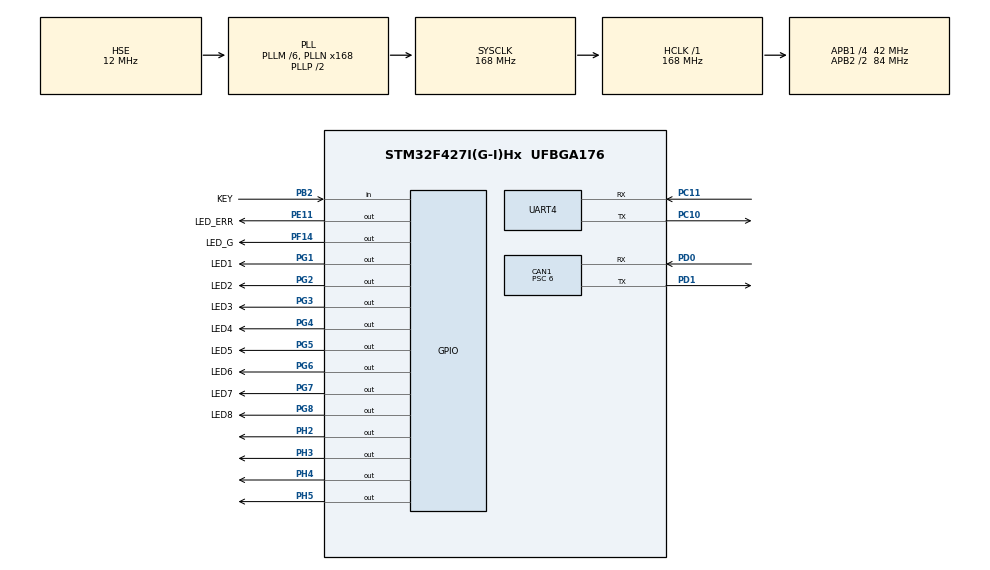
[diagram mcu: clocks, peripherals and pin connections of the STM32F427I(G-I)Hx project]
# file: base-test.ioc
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CAN1.BS1=CAN_BS1_4TQ
CAN1.BS2=CAN_BS2_2TQ
CAN1.CalculateBaudRate=1000000
CAN1.CalculateTimeBit=1000
CAN1.CalculateTimeQuantum=142.85714285714286
CAN1.Prescaler=6
Dma.Request0=UART4_TX
Dma.UART4_TX.0.Direction=DMA_MEMORY_TO_PERIPH
Dma.UART4_TX.0.FIFOMode=DMA_FIFOMODE_ENABLE
Dma.UART4_TX.0.FIFOThreshold=DMA_FIFO_THRESHOLD_FULL
Dma.UART4_TX.0.Instance=DMA1_Stream4
Dma.UART4_TX.0.MemBurst=DMA_MBURST_SINGLE
Dma.UART4_TX.0.MemDataAlignment=DMA_MDATAALIGN_BYTE
Dma.UART4_TX.0.MemInc=DMA_MINC_ENABLE
Dma.UART4_TX.0.Mode=DMA_NORMAL
Dma.UART4_TX.0.PeriphBurst=DMA_PBURST_SINGLE
Dma.UART4_TX.0.PeriphDataAlignment=DMA_PDATAALIGN_BYTE
Dma.UART4_TX.0.PeriphInc=DMA_PINC_DISABLE
Dma.UART4_TX.0.Priority=DMA_PRIORITY_LOW
Mcu.Family=STM32F4
Mcu.Name=STM32F427I(G-I)Hx
Mcu.Package=UFBGA176
NVIC.CAN1_RX0_IRQn=true\:0\:0\:false\:false\:true\:true\:true\:true
NVIC.DMA1_Stream4_IRQn=true\:0\:0\:false\:false\:true\:false\:true\:true
NVIC.PriorityGroup=NVIC_PRIORITYGROUP_4
PB2/BOOT1.GPIO_Label=KEY
PB2/BOOT1.Signal=GPIO_Input
PC10.Mode=Asynchronous
PC10.Signal=UART4_TX
PC11.Mode=Asynchronous
PC11.Signal=UART4_RX
PD0.Mode=CAN_Activate
PD0.Signal=CAN1_RX
PD1.Mode=CAN_Activate
PD1.Signal=CAN1_TX
PE11.GPIO_Label=LED_ERR
PE11.GPIO_PuPd=GPIO_PULLUP
PE11.PinState=GPIO_PIN_SET
PE11.Signal=GPIO_Output
PF14.GPIO_Label=LED_G
PF14.GPIO_PuPd=GPIO_PULLUP
PF14.Signal=GPIO_Output
PG1.GPIO_Label=LED1
PG1.GPIO_PuPd=GPIO_PULLUP
PG1.PinState=GPIO_PIN_SET
PG1.Signal=GPIO_Output
PG2.GPIO_Label=LED2
PG2.GPIO_PuPd=GPIO_PULLUP
PG2.PinState=GPIO_PIN_SET
PG2.Signal=GPIO_Output
PG3.GPIO_Label=LED3
PG3.GPIO_PuPd=GPIO_PULLUP
PG3.PinState=GPIO_PIN_SET
PG3.Signal=GPIO_Output
PG4.GPIO_Label=LED4
PG4.GPIO_PuPd=GPIO_PULLUP
PG4.PinState=GPIO_PIN_SET
PG4.Signal=GPIO_Output
PG5.GPIO_Label=LED5
PG5.GPIO_PuPd=GPIO_PULLUP
PG5.PinState=GPIO_PIN_SET
PG5.Signal=GPIO_Output
PG6.GPIO_Label=LED6
PG6.GPIO_PuPd=GPIO_PULLUP
PG6.PinState=GPIO_PIN_SET
PG6.Signal=GPIO_Output
PG7.GPIO_Label=LED7
PG7.GPIO_PuPd=GPIO_PULLUP
PG7.PinState=GPIO_PIN_SET
PG7.Signal=GPIO_Output
PG8.GPIO_Label=LED8
PG8.GPIO_PuPd=GPIO_PULLUP
PG8.PinState=GPIO_PIN_SET
PG8.Signal=GPIO_Output
PH0/OSC_IN.Mode=HSE-External-Oscillator
PH0/OSC_IN.Signal=RCC_OSC_IN
PH1/OSC_OUT.Mode=HSE-External-Oscillator
PH1/OSC_OUT.Signal=RCC_OSC_OUT
PH2.Signal=GPIO_Output
PH3.Signal=GPIO_Output
PH4.Signal=GPIO_Output
PH5.Signal=GPIO_Output
ProjectManager.HeapSize=0x200
ProjectManager.StackSize=0x400
ProjectManager.TargetToolchain=CMake
RCC.48MHZClocksFreq_Value=84000000
RCC.AHBFreq_Value=168000000
RCC.APB1CLKDivider=RCC_HCLK_DIV4
RCC.APB1Freq_Value=42000000
RCC.APB1TimFreq_Value=84000000
RCC.APB2CLKDivider=RCC_HCLK_DIV2
RCC.APB2Freq_Value=84000000
RCC.APB2TimFreq_Value=168000000
RCC.CortexFreq_Value=168000000
RCC.HCLKFreq_Value=168000000
RCC.HSE_VALUE=12000000
RCC.HSI_VALUE=16000000
RCC.LSE_VALUE=32768
RCC.PLLM=6
RCC.PLLN=168
RCC.PLLSourceVirtual=RCC_PLLSOURCE_HSE
RCC.SYSCLKFreq_VALUE=168000000
RCC.SYSCLKSource=RCC_SYSCLKSOURCE_PLLCLK
RCC.VCOOutputFreq_Value=336000000
UART4.VirtualMode=Asynchronous
board=custom

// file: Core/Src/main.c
/* USER CODE BEGIN Header */
/**
 ******************************************************************************
 * @file           : main.c
 * @brief          : Main program body
 ******************************************************************************
 * @attention
 *
 * Copyright (c) 2025 STMicroelectronics.
 * All rights reserved.
 *
 * This software is licensed under terms that can be found in the LICENSE file
 * in the root directory of this software component.
 * If no LICENSE file comes with this software, it is provided AS-IS.
 *
 ******************************************************************************
 */
#include "bsp_can.h"
#include "pid.h"

/* USER CODE END Header */
#include "can.h"
#include "dma.h"
#include "gpio.h"
#include "main.h"
#include "usart.h"

/* USER CODE BEGIN PV */
int set_spd[4] = {0};
/* USER CODE END PV */

void SystemClock_Config(void);

/* USER CODE BEGIN 0 */

#define NUM_POSITIONS 5
int target_angles[NUM_POSITIONS] = {0, -6400, 6400, 14000, -6400};  // 预设目标角度
int current_position_idx[2] = {0, 0};
// 当前角度目标索引，分别控制ID3和ID4电机
void PID_Parameter_Init(void) {
  // 1) 电机1、2速度PID的初始化
  PID_struct_init(&pid_spd[0], POSITION_PID, 8000, 8000, 1.5f, 0.1f, 0.3f, 200);
  PID_struct_init(&pid_spd[1], POSITION_PID, 8000, 8000, 1.5f, 0.1f, 0.3f, 200);

  // 2) 电机3、4速度环PID初始化
  PID_struct_init(&pid_spd[2], POSITION_PID, 2000, 2000, 1.0f, 0.0f, 0.3f, 200);
  PID_struct_init(&pid_spd[3], POSITION_PID, 2000, 2000, 1.0f, 0.0f, 0.3f, 200);

  // 3) 电机3、4位置环PID初始化（新增）
  //    位置环一般P值不要太大，D值可适当加大以减少超调振荡。I视具体情况而定
  PID_struct_init(&pid_pos[2], POSITION_PID, 2000, 2000, 1.0f, 0.0f, 0.3f, 200);
  PID_struct_init(&pid_pos[3], POSITION_PID, 2000, 2000, 1.0f, 0.0f, 0.3f, 200);
}

void stop_all_motors() {
  for (int i = 0; i < 4; i++) {
    set_spd[i] = 0;
  }
  set_moto_current(&hcan1, 0, 0, 0, 0);  // 发送停止指令
}

void handle_led(uint8_t number) {
  switch (number) {
    case 0:
      HAL_GPIO_WritePin(LED1_GPIO_Port, LED1_Pin, GPIO_PIN_SET);
      HAL_GPIO_WritePin(LED2_GPIO_Port, LED2_Pin, GPIO_PIN_SET);
      HAL_GPIO_WritePin(LED3_GPIO_Port, LED3_Pin, GPIO_PIN_SET);
      HAL_GPIO_WritePin(LED4_GPIO_Port, LED4_Pin, GPIO_PIN_SET);
      HAL_GPIO_WritePin(LED5_GPIO_Port, LED5_Pin, GPIO_PIN_SET);
      HAL_GPIO_WritePin(LED6_GPIO_Port, LED6_Pin, GPIO_PIN_SET);
      break;
    case 1:
      HAL_GPIO_WritePin(LED1_GPIO_Port, LED1_Pin, GPIO_PIN_RESET);
      break;
    case 2:
      HAL_GPIO_WritePin(LED2_GPIO_Port, LED2_Pin, GPIO_PIN_RESET);
      break;
    case 3:
      HAL_GPIO_WritePin(LED3_GPIO_Port, LED3_Pin, GPIO_PIN_RESET);
      break;
    case 4:
      HAL_GPIO_WritePin(LED4_GPIO_Port, LED4_Pin, GPIO_PIN_RESET);
      break;
    case 5:
      HAL_GPIO_WritePin(LED5_GPIO_Port, LED5_Pin, GPIO_PIN_RESET);
      break;
    case 6:
      HAL_GPIO_WritePin(LED6_GPIO_Port, LED6_Pin, GPIO_PIN_RESET);
      break;
    default:
      break;
  }
}

/* USER CODE END 0 */

int main(void) {

  /* MCU Configuration--------------------------------------------------------*/

  /* Reset of all peripherals, Initializes the Flash interface and the Systick. */
  HAL_Init();

  /* Configure the system clock */
  SystemClock_Config();

  /* Initialize all configured peripherals */
  MX_GPIO_Init();
  MX_DMA_Init();
  MX_CAN1_Init();
  MX_UART4_Init();
  /* USER CODE BEGIN 2 */
  HAL_GPIO_WritePin(GPIOH, GPIO_PIN_2, GPIO_PIN_SET);
  HAL_GPIO_WritePin(GPIOH, GPIO_PIN_3, GPIO_PIN_SET);
  HAL_GPIO_WritePin(GPIOH, GPIO_PIN_4, GPIO_PIN_SET);
  HAL_GPIO_WritePin(GPIOH, GPIO_PIN_5, GPIO_PIN_SET);
  HAL_Delay(10);
  HAL_GPIO_WritePin(LED_G_GPIO_Port, LED_G_Pin, GPIO_PIN_RESET);
  /* USER CODE END 2 */

  /* Infinite loop */
  /* USER CODE BEGIN WHILE */
  my_can_filter_init_recv_all(&hcan1);
  HAL_CAN_Start(&hcan1);
  HAL_CAN_ActivateNotification(&hcan1, CAN_IT_RX_FIFO0_MSG_PENDING);

  PID_Parameter_Init();
  HAL_Delay(100);

  int key_sta = 2, key_cnt;
  while (1) {
    switch (key_sta) {
      case 0:
        if (0 == HAL_GPIO_ReadPin(KEY_GPIO_Port, KEY_Pin)) {
          key_sta = 1;
          HAL_GPIO_WritePin(LED8_GPIO_Port, LED8_Pin, GPIO_PIN_SET);
        }
        break;
      case 1:
        if (0 == HAL_GPIO_ReadPin(KEY_GPIO_Port, KEY_Pin)) {
          key_sta = 2;
          key_cnt++;
        } else {
          key_sta = 0;
        }
        break;
      case 2:
        if (0 != HAL_GPIO_ReadPin(KEY_GPIO_Port, KEY_Pin)) {
          key_sta = 0;
          HAL_GPIO_WritePin(LED8_GPIO_Port, LED8_Pin, GPIO_PIN_RESET);
        }
        break;
    }

    if (key_cnt > 4) {
      key_cnt = 0;  // 计数值超过10后归零
    }
    float sp0, sp1, sp2, sp3, pos_out2, pos_out3;
    handle_led(key_cnt);
    if (key_cnt != 0) {
      sp0 = pid_calc(&pid_spd[0], moto_chassis[0].speed_rpm, 5000);
      sp1 = pid_calc(&pid_spd[1], moto_chassis[1].speed_rpm, -5000);
    }
    // Corrected cascaded control for motors 2 and 3
    pos_out2 = pid_calc(&pid_pos[2], moto_chassis[2].total_angle, target_angles[key_cnt - 1]);
    sp2 = pid_calc(&pid_spd[2], moto_chassis[2].speed_rpm, pos_out2);  // Use position output as speed setpoint

    pos_out3 = pid_calc(&pid_pos[3], moto_chassis[3].total_angle, target_angles[key_cnt - 1]);
    sp3 = pid_calc(&pid_spd[3], moto_chassis[3].speed_rpm, pos_out3);  // Use position output as speed setpoint

    set_moto_current(&hcan1, (int16_t)sp0, (int16_t)sp1, (int16_t)sp2, (int16_t)sp3);
    HAL_Delay(1);

    /* USER CODE END WHILE */

  }
}

void SystemClock_Config(void) {
  RCC_OscInitTypeDef RCC_OscInitStruct = {0};
  RCC_ClkInitTypeDef RCC_ClkInitStruct = {0};

  /** Configure the main internal regulator output voltage
   */
  __HAL_RCC_PWR_CLK_ENABLE();
  __HAL_PWR_VOLTAGESCALING_CONFIG(PWR_REGULATOR_VOLTAGE_SCALE1);

  /** Initializes the RCC Oscillators according to the specified parameters
   * in the RCC_OscInitTypeDef structure.
   */
  RCC_OscInitStruct.OscillatorType = RCC_OSCILLATORTYPE_HSE;
  RCC_OscInitStruct.HSEState = RCC_HSE_ON;
  RCC_OscInitStruct.PLL.PLLState = RCC_PLL_ON;
  RCC_OscInitStruct.PLL.PLLSource = RCC_PLLSOURCE_HSE;
  RCC_OscInitStruct.PLL.PLLM = 6;
  RCC_OscInitStruct.PLL.PLLN = 168;
  RCC_OscInitStruct.PLL.PLLP = RCC_PLLP_DIV2;
  RCC_OscInitStruct.PLL.PLLQ = 4;
  if (HAL_RCC_OscConfig(&RCC_OscInitStruct) != HAL_OK) {
    Error_Handler();
  }

  /** Initializes the CPU, AHB and APB buses clocks
   */
  RCC_ClkInitStruct.ClockType = RCC_CLOCKTYPE_HCLK | RCC_CLOCKTYPE_SYSCLK | RCC_CLOCKTYPE_PCLK1 | RCC_CLOCKTYPE_PCLK2;
  RCC_ClkInitStruct.SYSCLKSource = RCC_SYSCLKSOURCE_PLLCLK;
  RCC_ClkInitStruct.AHBCLKDivider = RCC_SYSCLK_DIV1;
  RCC_ClkInitStruct.APB1CLKDivider = RCC_HCLK_DIV4;
  RCC_ClkInitStruct.APB2CLKDivider = RCC_HCLK_DIV2;

  if (HAL_RCC_ClockConfig(&RCC_ClkInitStruct, FLASH_LATENCY_5) != HAL_OK) {
    Error_Handler();
  }
}

void Error_Handler(void) {
  __disable_irq();
  while (1) {
  }
}
